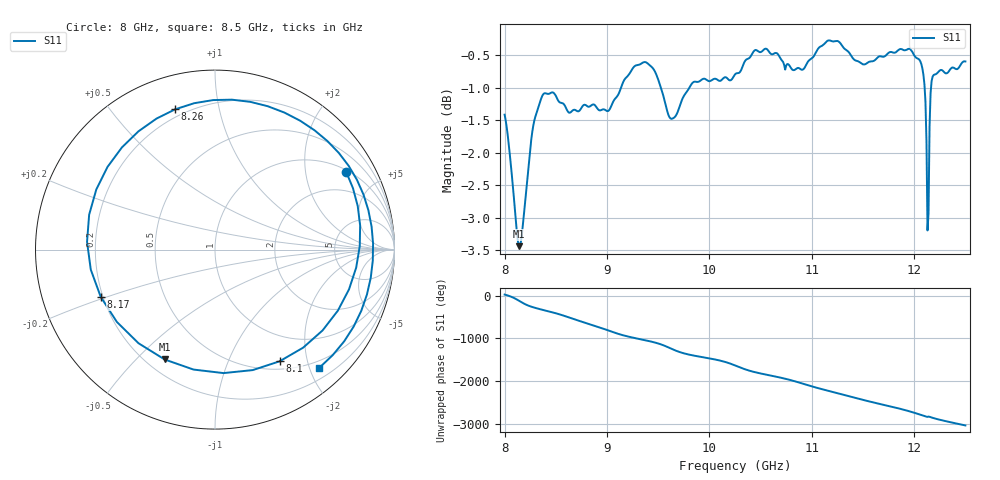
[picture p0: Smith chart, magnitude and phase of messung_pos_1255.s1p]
#  HZ  S  RI  R  50.00
! Rohde & Schwarz Vector Network Analyzer
! Rohde-Schwarz,ZNA43-4Port,1332450044101932,2.92
! Created: UTC 6/1/2026, 11:34:09 AM
! freq[Hz]  re:S11  im:S11
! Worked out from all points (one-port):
!   451 points, 8 GHz to 12.5 GHz, reference 50 ohm
!   lowest |S11| = -3.4 dB at 8.14 GHz (marker M1), VSWR 5.12, Z = 13.6 - j30.4 ohm
!   |S11| at or under -10 dB: nowhere
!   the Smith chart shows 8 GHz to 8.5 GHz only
!   S11 on the Smith chart (normalised r, x): 8 GHz: 1.07, +3.33; 8.1 GHz: 0.61, -1.56; 8.17 GHz: 0.19, -0.19; 8.26 GHz: 0.16, +0.74; 8.5 GHz: 0.38, -2.16
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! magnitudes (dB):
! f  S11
! 8 GHz  -1.4
! 8.1 GHz  -2.9
! 8.14 GHz  -3.4
! 8.17 GHz  -3.2
! 8.26 GHz  -1.8
! 8.37 GHz  -1.1
! 8.5 GHz  -1.1
! 8.57 GHz  -1.2
! 9.01 GHz  -1.4
! 9.13 GHz  -1.0
! 9.38 GHz  -0.6
! 9.61 GHz  -1.5
! 9.69 GHz  -1.4
! 9.84 GHz  -0.9
! 10.25 GHz  -0.8
! 10.55 GHz  -0.4
! 10.82 GHz  -0.7
! 11.16 GHz  -0.3
! 11.38 GHz  -0.5
! 11.94 GHz  -0.4
! 12.08 GHz  -0.7
! 12.1 GHz  -1.0
! 12.12 GHz  -1.8
! 12.13 GHz  -3.2
! 12.15 GHz  -1.6
! 12.17 GHz  -0.9
! 12.19 GHz  -0.8
! 12.5 GHz  -0.6
